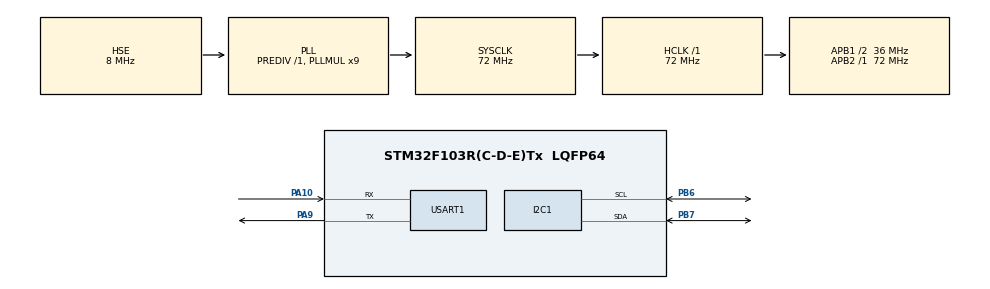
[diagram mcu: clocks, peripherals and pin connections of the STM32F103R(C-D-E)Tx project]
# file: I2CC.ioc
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Mcu.Family=STM32F1
Mcu.Name=STM32F103R(C-D-E)Tx
Mcu.Package=LQFP64
NVIC.PriorityGroup=NVIC_PRIORITYGROUP_4
PA10.Mode=Asynchronous
PA10.Signal=USART1_RX
PA13.Mode=Serial_Wire
PA13.Signal=SYS_JTMS-SWDIO
PA14.Mode=Serial_Wire
PA14.Signal=SYS_JTCK-SWCLK
PA9.Mode=Asynchronous
PA9.Signal=USART1_TX
PB6.Mode=I2C
PB6.Signal=I2C1_SCL
PB7.Mode=I2C
PB7.Signal=I2C1_SDA
PD0-OSC_IN.Mode=HSE-External-Oscillator
PD0-OSC_IN.Signal=RCC_OSC_IN
PD1-OSC_OUT.Mode=HSE-External-Oscillator
PD1-OSC_OUT.Signal=RCC_OSC_OUT
ProjectManager.HeapSize=0x200
ProjectManager.StackSize=0x400
ProjectManager.TargetToolchain=MDK-ARM V5
RCC.AHBFreq_Value=72000000
RCC.APB1CLKDivider=RCC_HCLK_DIV2
RCC.APB1Freq_Value=36000000
RCC.APB1TimFreq_Value=72000000
RCC.APB2Freq_Value=72000000
RCC.APB2TimFreq_Value=72000000
RCC.HCLKFreq_Value=72000000
RCC.PLLMUL=RCC_PLL_MUL9
RCC.PLLSourceVirtual=RCC_PLLSOURCE_HSE
RCC.SYSCLKFreq_VALUE=72000000
RCC.SYSCLKSource=RCC_SYSCLKSOURCE_PLLCLK
RCC.USBFreq_Value=72000000
USART1.VirtualMode=VM_ASYNC
board=custom

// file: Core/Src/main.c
/* USER CODE BEGIN Header */
/**
  ******************************************************************************
  * @file           : main.c
  * @brief          : Main program body
  ******************************************************************************
  * @attention
  *
  * <h2><center>&copy; Copyright (c) 2021 STMicroelectronics.
  * All rights reserved.</center></h2>
  *
  * This software component is licensed by ST under BSD 3-Clause license,
  * the "License"; You may not use this file except in compliance with the
  * License. You may obtain a copy of the License at:
  *                        opensource.org/licenses/BSD-3-Clause
  *
  ******************************************************************************
  */
/* USER CODE END Header */
#include "main.h"
#include "i2c.h"
#include "usart.h"
#include "gpio.h"

/* USER CODE BEGIN PV */
/* USER CODE BEGIN PV */
/* Private variables ---------------------------------------------------------*/
#define ADDR_24LCxx_Write 0xA0
#define BufferSize 256
uint8_t WriteBuffer[BufferSize],ReadBuffer[BufferSize];
uint16_t i;
/* USER CODE END PV */
/* USER CODE END PV */

void SystemClock_Config(void);

int main(void)
{

  /* MCU Configuration--------------------------------------------------------*/

  /* Reset of all peripherals, Initializes the Flash interface and the Systick. */
  HAL_Init();

  /* Configure the system clock */
  SystemClock_Config();

  /* Initialize all configured peripherals */
  MX_GPIO_Init();
  MX_I2C1_Init();
  MX_USART1_UART_Init();
  /* USER CODE BEGIN 2 */
printf("\r\n***************I2C Example*******************************\r\n");
for(i=0; i<256; i++)
    WriteBuffer[i]=i;    /* WriteBuffer init */
/* wrinte date to EEPROM */
for(int j=0;j<32;j++)
{
	if(HAL_I2C_Mem_Write(&hi2c1, ADDR_24LCxx_Write, j, I2C_MEMADD_SIZE_8BIT,WriteBuffer+j,1, 0xffff) == HAL_OK)
	{
		printf("\r\n EEPROM 24C02 Write Test OK \r\n");
		HAL_Delay(50);
	}
	else
	{
    printf("\r\n EEPROM 24C02 Write Test False \r\n");
		HAL_Delay(50);
	}
}

/* read date from EEPROM */
HAL_I2C_Mem_Read(&hi2c1, ADDR_24LCxx_Write, 0, I2C_MEMADD_SIZE_8BIT,ReadBuffer,BufferSize, 0xffff);
for(i=0; i<256; i++)
    printf("0x%02X  ",ReadBuffer[i]);

  /* USER CODE END 2 */

  /* Infinite loop */
  while (1)
  {

  }
}

void SystemClock_Config(void)
{
  RCC_OscInitTypeDef RCC_OscInitStruct = {0};
  RCC_ClkInitTypeDef RCC_ClkInitStruct = {0};

  /** Initializes the RCC Oscillators according to the specified parameters
  * in the RCC_OscInitTypeDef structure.
  */
  RCC_OscInitStruct.OscillatorType = RCC_OSCILLATORTYPE_HSE;
  RCC_OscInitStruct.HSEState = RCC_HSE_ON;
  RCC_OscInitStruct.HSEPredivValue = RCC_HSE_PREDIV_DIV1;
  RCC_OscInitStruct.HSIState = RCC_HSI_ON;
  RCC_OscInitStruct.PLL.PLLState = RCC_PLL_ON;
  RCC_OscInitStruct.PLL.PLLSource = RCC_PLLSOURCE_HSE;
  RCC_OscInitStruct.PLL.PLLMUL = RCC_PLL_MUL9;
  if (HAL_RCC_OscConfig(&RCC_OscInitStruct) != HAL_OK)
  {
    Error_Handler();
  }
  /** Initializes the CPU, AHB and APB buses clocks
  */
  RCC_ClkInitStruct.ClockType = RCC_CLOCKTYPE_HCLK|RCC_CLOCKTYPE_SYSCLK
                              |RCC_CLOCKTYPE_PCLK1|RCC_CLOCKTYPE_PCLK2;
  RCC_ClkInitStruct.SYSCLKSource = RCC_SYSCLKSOURCE_PLLCLK;
  RCC_ClkInitStruct.AHBCLKDivider = RCC_SYSCLK_DIV1;
  RCC_ClkInitStruct.APB1CLKDivider = RCC_HCLK_DIV2;
  RCC_ClkInitStruct.APB2CLKDivider = RCC_HCLK_DIV1;

  if (HAL_RCC_ClockConfig(&RCC_ClkInitStruct, FLASH_LATENCY_2) != HAL_OK)
  {
    Error_Handler();
  }
}

/* USER CODE BEGIN 4 */
int fputc(int ch,FILE *f)
{
	HAL_UART_Transmit(&huart1,(uint8_t *)&ch,1,HAL_MAX_DELAY);
	return ch;
}
/* USER CODE END 4 */

void Error_Handler(void)
{
  __disable_irq();
  while (1)
  {
  }
}

/************************ (C) COPYRIGHT STMicroelectronics *****END OF FILE****/
